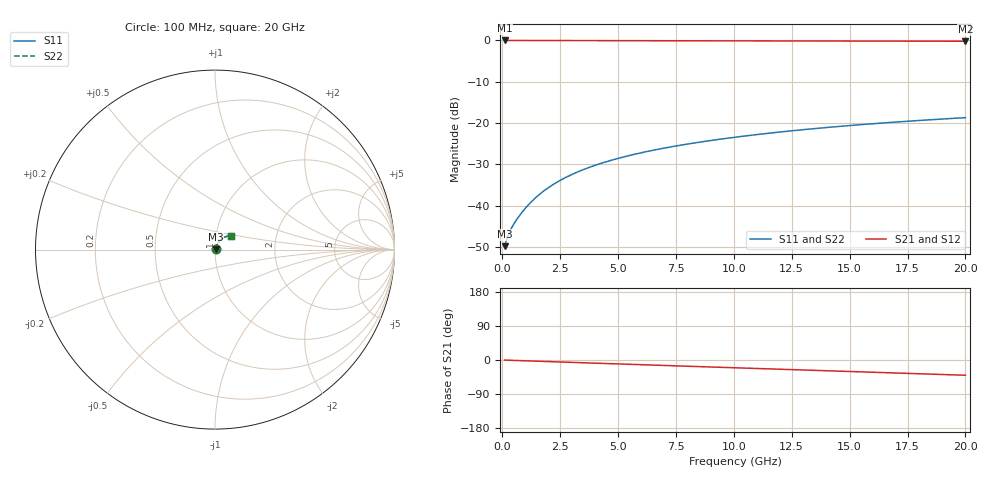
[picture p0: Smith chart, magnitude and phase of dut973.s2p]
! Touchstone file exported from HFSS 2026.1.0
!  File:  C:/ffzhzh/LocalFiles/Ansys_Project_Files/temp_train_BSMRDL_973_1783172638_51560.aedt
!  Generated:  09:45:07 PM Jul  4, 2026
!  Design:  BSMRDL
!  Project:  temp_train_BSMRDL_973_1783172638_51560
! Variables:
!  h_bsmrdl = 4.72um
!  h_ox = 20um
!  h_rdl = 5um
!  h_sub = 80um
!  h_tmrdl = 5um
!  h_tsv = 80um
!  h_via = 3um
!  l_bsmrdl = 714.07um
!  l_sub = 1114.07um
!  l_tmrdl = 200um
!  m_sub = 200um
!  pitch = 26.5um
!  r_tsv = 6um
!  s_tmrdl = 10um
!  w_bsmrdl = 19.23um
!  w_sub = 500um
!  w_tmrdl = 12um
!  x_tsv_center1 = 206um
!  x_tsv_center2 = 939.3um
!  x_tsv_center3 = 1151.3um
!  x_tsv_center4 = 1884.6um
!  x_tsv_center5 = 2096.6um
!  x_tsv_center6 = 2829.9um
# GHz S MA R 50.000000
! Terminal data exported
! Port[1] = BSM_RDL1_1_T1
! Port[2] = BSM_RDL1_1_T2
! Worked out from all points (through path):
!   200 points, 100 MHz to 20 GHz, reference 50 ohm
!   highest |S21| = -0.03 dB at 100 MHz (marker M1); lowest = -0.2 dB at 20 GHz (marker M2)
!   group delay of S21, straight-line fit = 5.57 ps
!   lowest |S11| = -49.8 dB at 100 MHz (marker M3), VSWR 1.01, Z = 50.3 + j0.123 ohm
!   |S11| at or under -10 dB: start of sweep to end of sweep
!   |S22| runs from -49.8 to -18.7 dB; largest |S21 - S12| = 2.1e-15
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0.1  0.003255 22.0  0.997 -0.2  0.997 -0.2  0.003255 22.0
! Gamma 0 0 0 0
! Port Impedance 50 0 50 0
0.2  0.004012 33.5  0.9967 -0.5  0.9967 -0.5  0.004012 33.5
0.3  0.004739 39.8  0.9964 -0.7  0.9964 -0.7  0.00474 39.8
0.4  0.005404 44.3  0.9962 -0.9  0.9962 -0.9  0.005404 44.3
0.5  0.006044 48.0  0.996 -1.1  0.996 -1.1  0.006045 48.0
0.7  0.007339 54.0  0.9958 -1.5  0.9958 -1.5  0.007339 54.0
0.9  0.00869 58.4  0.9957 -1.9  0.9957 -1.9  0.00869 58.4
1.3  0.01153 63.8  0.9954 -2.8  0.9954 -2.8  0.01153 63.8
1.8  0.01519 67.0  0.9949 -3.8  0.9949 -3.8  0.01519 67.0
2.3  0.01885 68.3  0.9944 -4.9  0.9944 -4.9  0.01885 68.3
2.9  0.02318 68.7  0.9937 -6.1  0.9937 -6.1  0.02318 68.7
3.5  0.0274 68.5  0.9929 -7.3  0.9929 -7.3  0.0274 68.4
4.2  0.03218 67.8  0.992 -8.8  0.992 -8.8  0.03218 67.7
5  0.03745 66.7  0.9909 -10.4  0.9909 -10.4  0.03746 66.7
5.9  0.04317 65.4  0.9898 -12.2  0.9898 -12.2  0.04318 65.3
6.8  0.0487 64.0  0.9886 -14.0  0.9886 -14.0  0.04872 63.9
8.3  0.05758 61.6  0.9869 -17.1  0.9869 -17.1  0.0576 61.5
10.1  0.06776 58.6  0.9849 -20.7  0.9849 -20.7  0.0678 58.5
11.7  0.07646 56.0  0.9833 -23.8  0.9833 -23.8  0.07651 55.9
13.4  0.08536 53.1  0.9816 -27.2  0.9816 -27.2  0.08542 53.0
16.7  0.1016 47.4  0.9785 -33.8  0.9785 -33.8  0.1017 47.2
20  0.1163 41.6  0.9755 -40.3  0.9755 -40.3  0.1164 41.4
